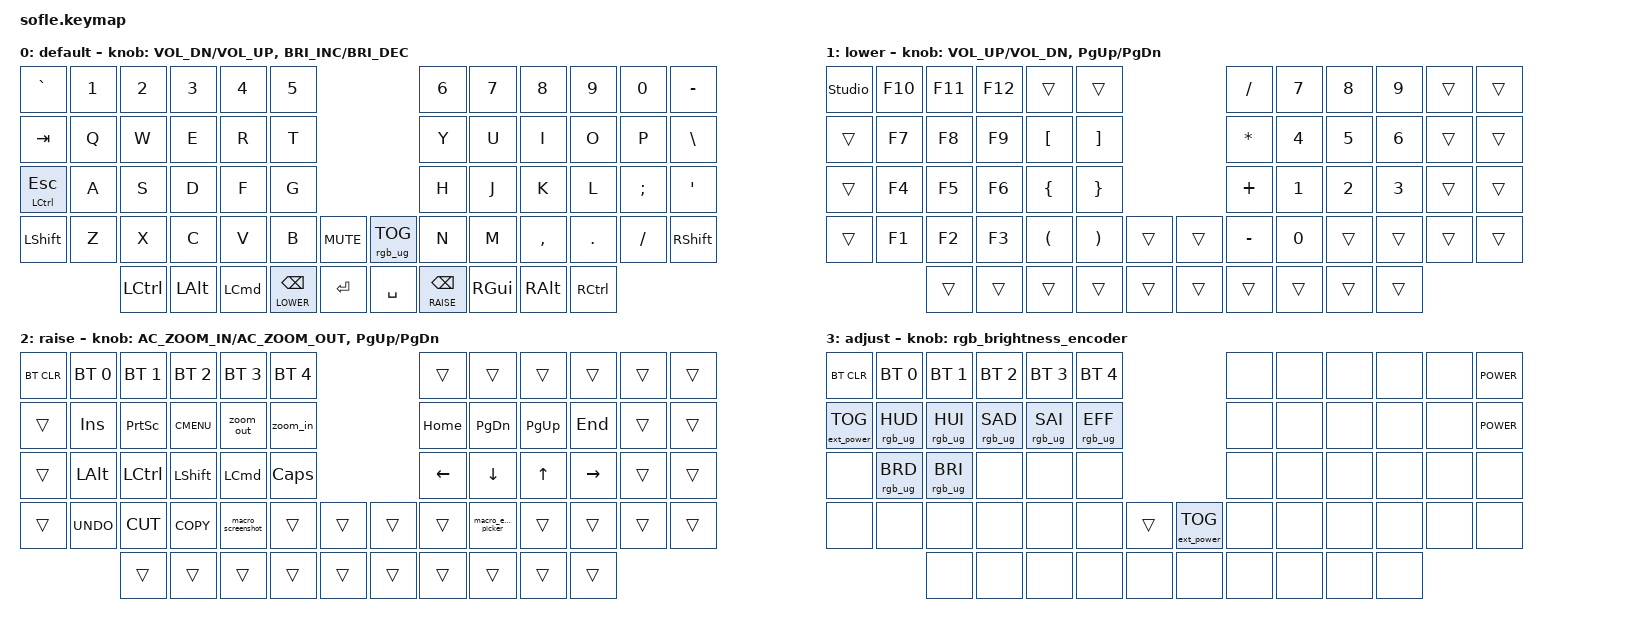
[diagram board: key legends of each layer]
/*
 * Copyright (c) 2020 The ZMK Contributors
 *
 * SPDX-License-Identifier: MIT
 */

#include <behaviors.dtsi>
#include <dt-bindings/zmk/bt.h>
#include <dt-bindings/zmk/ext_power.h>
#include <dt-bindings/zmk/keys.h>
#include <dt-bindings/zmk/rgb.h>

#define BASE 0
#define LOWER 1
#define RAISE 2
#define ADJUST 3

/ {
    // Activate ADJUST layer by pressing raise and lower

    conditional_layers {
        compatible = "zmk,conditional-layers";

        adjust_layer {
            if-layers = <LOWER RAISE>;
            then-layer = <ADJUST>;
        };
    };

    behaviors {
        macro_emoji_picker: macro_emoji_picker {
            compatible = "zmk,behavior-macro";
            label = "macro_emoji_picker";
            #binding-cells = <0>;
            bindings = <&kp LC(LG(SPACE))>;
        };

        macro_screenshot: macro_screenshot {
            compatible = "zmk,behavior-macro";
            #binding-cells = <0>;
            bindings = <&kp LG(LC(LS(NUMBER_4)))>;
            label = "MACRO_SCREENSHOT";
        };

        zoom_in: zoom_in {
            compatible = "zmk,behavior-macro";
            #binding-cells = <0>;
            bindings = <&kp LG(PLUS)>;
            label = "ZOOM_IN";
        };

        zoom_out: zoom_out {
            compatible = "zmk,behavior-macro";
            #binding-cells = <0>;
            bindings = <&kp LG(MINUS)>;
            label = "ZOOM_OUT";
        };

        rgb_brightness_encoder: rgb_brightness_encoder {
            compatible = "zmk,behavior-sensor-rotate";
            label = "RGB_BRIGHTNESS_ENCODER";
            #sensor-binding-cells = <0>;
            bindings = <&rgb_ug RGB_BRI>, <&rgb_ug RGB_BRD>;
        };

        lth: layer_tap {
            compatible = "zmk,behavior-hold-tap";
            #binding-cells = <2>;
            flavor = "tap-preferred";
            tapping-term-ms = <140>;
            bindings = <&mo>, <&kp>;

            display-name = "Layer-Tap-Hold";
            quick-tap-ms = <150>;
        };
    };

    combos {
        compatible = "zmk,combos";

        vim_escape {
            bindings = <&kp ESCAPE>;
            key-positions = <31 32>;
            timeout-ms = <50>;
        };

        combo_caps_lock {
            bindings = <&kp CAPS>;
            key-positions = <36 49>;
        };

        equal {
            bindings = <&kp EQUAL>;
            key-positions = <19 20>;
            timeout-ms = <50>;
        };

        left-bracket {
            bindings = <&kp LEFT_BRACKET>;
            key-positions = <16 17>;
        };

        right-bracket {
            bindings = <&kp RIGHT_BRACKET>;
            key-positions = <18 19>;
        };

        left-brace {
            bindings = <&kp LEFT_BRACE>;
            key-positions = <28 29>;
        };

        right-brace {
            bindings = <&kp RIGHT_BRACE>;
            key-positions = <30 31>;
        };

        left-parenthesis {
            bindings = <&kp LEFT_PARENTHESIS>;
            key-positions = <40 41>;
        };

        right-parenthesis {
            bindings = <&kp RIGHT_PARENTHESIS>;
            key-positions = <44 45>;
        };
    };

    macros {
    };

    keymap {
        compatible = "zmk,keymap";

        default_layer {
            display-name = "default";

            // ------------------------------------------------------------------------------------------------------------
            // |   `   |  1  |  2  |  3   |  4   |  5   |                   |  6   |  7    |  8    |  9   |   0   |       |
            // |  ESC  |  Q  |  W  |  E   |  R   |  T   |                   |  Y   |  U    |  I    |  O   |   P   | BKSPC |
            // |  TAB  |  A  |  S  |  D   |  F   |  G   |                   |  H   |  J    |  K    |  L   |   ;   |   '   |
            // | SHIFT |  Z  |  X  |  C   |  V   |  B   |  MUTE  |  |       |  N   |  M    |  ,    |  .   |   /   | SHIFT |
            //               | GUI | ALT  | CTRL | LOWER|  ENTER |  | SPACE | RAISE| CTRL  | ALT   | GUI  |

            bindings = <
&kp GRAVE         &kp N1  &kp N2     &kp N3    &kp N4    &kp N5                                               &kp N6                &kp N7    &kp N8         &kp N9     &kp N0    &kp MINUS
&kp TAB           &kp Q   &kp W      &kp E     &kp R     &kp T                                                &kp Y                 &kp U     &kp I          &kp O      &kp P     &kp BACKSLASH
&mt LCTRL ESCAPE  &kp A   &kp S      &kp D     &kp F     &kp G                                                &kp H                 &kp J     &kp K          &kp L      &kp SEMI  &kp SQT
&kp LSHFT         &kp Z   &kp X      &kp C     &kp V     &kp B                 &kp C_MUTE    &rgb_ug RGB_TOG  &kp N                 &kp M     &kp COMMA      &kp DOT    &kp FSLH  &kp RIGHT_SHIFT
                          &kp LCTRL  &kp LALT  &kp LCMD  &lth LOWER BACKSPACE  &kp RET       &kp SPACE        &lth RAISE BACKSPACE  &kp RGUI  &kp RIGHT_ALT  &kp RCTRL
            >;

            sensor-bindings =
                <&inc_dec_kp C_VOL_DN C_VOL_UP>,
                <&inc_dec_kp C_BRIGHTNESS_INC C_BRIGHTNESS_DEC>;
        };

        lower_layer {
            display-name = "lower";

            // TODO: Some binds are waiting for shifted keycode support.
            // ------------------------------------------------------------------------------------------------------------
            // |       |  F1 |  F2 |  F3  |  F4  |  F5  |                   |  F6  |  F7   |  F8   |  F9  |  F10  |  F11  |
            // |   `   |  1  |  2  |  3   |  4   |  5   |                   |  6   |  7    |  8    |  9   |   0   |  F12  |
            // |       |  !  |  @  |  #   |  $   |  %   |                   |  ^   |  &    |  *    |  (   |   )   |   |   |
            // |       |  =  |  -  |  +   |  {   |  }   |        |  |       |  [   |  ]    |  ;    |  :   |   \   |       |
            //               |     |      |      |      |        |  |       |      |       |       |      |

            bindings = <
&studio_unlock  &kp F10  &kp F11  &kp F12  &trans                &trans                                   &kp SLASH     &kp N7        &kp N8        &kp N9        &trans  &trans
&trans          &kp F7   &kp F8   &kp F9   &kp LEFT_BRACKET      &kp RIGHT_BRACKET                        &kp ASTERISK  &kp NUMBER_4  &kp N5        &kp NUMBER_6  &trans  &trans
&trans          &kp F4   &kp F5   &kp F6   &kp LEFT_BRACE        &kp RIGHT_BRACE                          &kp PLUS      &kp NUMBER_1  &kp NUMBER_2  &kp NUMBER_3  &trans  &trans
&trans          &kp F1   &kp F2   &kp F3   &kp LEFT_PARENTHESIS  &kp RIGHT_PARENTHESIS  &trans    &trans  &kp MINUS     &kp N0        &trans        &trans        &trans  &trans
                         &trans   &trans   &trans                &trans                 &trans    &trans  &trans        &trans        &trans        &trans
            >;

            sensor-bindings = <&inc_dec_kp C_VOL_UP C_VOL_DN &inc_dec_kp PG_UP PG_DN>;
        };

        raise_layer {
            display-name = "raise";

            // ------------------------------------------------------------------------------------------------------------
            // | BTCLR | BT1  | BT2  |  BT3  |  BT4  |  BT5 |                |      |      |       |      |       |       |
            // |       | INS  | PSCR | GUI   |       |      |                | PGUP |      |       |      |       |       |
            // |       | ALT  | CTRL | SHIFT |       | CAPS |                | <-   |   v  |   ^   |  ->  |  DEL  | BKSPC |
            // |       | UNDO | CUT  | COPY  | PASTE |      |      |  |      |      |      |       |      |       |       |
            //                |      |       |       |      |      |  |      |      |      |       |      |

            bindings = <
&bt BT_CLR  &bt BT_SEL 0  &bt BT_SEL 1  &bt BT_SEL 2  &bt BT_SEL 3       &bt BT_SEL 4                    &trans    &trans               &trans        &trans     &trans  &trans
&trans      &kp INS       &kp PSCRN     &kp K_CMENU   &zoom_out          &zoom_in                        &kp HOME  &kp PG_DN            &kp PG_UP     &kp END    &trans  &trans
&trans      &kp LALT      &kp LCTRL     &kp LSHFT     &kp LCMD           &kp CLCK                        &kp LEFT  &kp DOWN             &kp UP_ARROW  &kp RIGHT  &trans  &trans
&trans      &kp K_UNDO    &kp K_CUT     &kp K_COPY    &macro_screenshot  &trans        &trans    &trans  &trans    &macro_emoji_picker  &trans        &trans     &trans  &trans
                          &trans        &trans        &trans             &trans        &trans    &trans  &trans    &trans               &trans        &trans
            >;

            sensor-bindings =
                <&inc_dec_kp C_AC_ZOOM_IN C_AC_ZOOM_OUT>,
                <&inc_dec_kp PG_UP PG_DN>;
        };

        adjust_layer {
            // ----------------------------------------------------------------------------------------------------------------------------
            // | BTCLR  |  BT1    |  BT2    |   BT3   |   BT4   |   BT5   |                  |      |      |       |      |       |       |
            // | EXTPWR | RGB_HUD | RGB_HUI | RGB_SAD | RGB_SAI | RGB_EFF |                  |      |      |       |      |       |       |
            // |        | RGB_BRD | RGB_BRI |         |         |         |                  |      |      |       |      |       |       |
            // |        |         |         |         |         |         | RGB_TOG | |      |      |      |       |      |       |       |
            //                    |         |         |         |         |         | |      |      |      |       |      |

            display-name = "adjust";
            bindings = <
&bt BT_CLR         &bt BT_SEL 0     &bt BT_SEL 1     &bt BT_SEL 2     &bt BT_SEL 3     &bt BT_SEL 4                                  &none  &none  &none  &none  &none  &kp K_POWER
&ext_power EP_TOG  &rgb_ug RGB_HUD  &rgb_ug RGB_HUI  &rgb_ug RGB_SAD  &rgb_ug RGB_SAI  &rgb_ug RGB_EFF                               &none  &none  &none  &none  &none  &kp C_POWER
&none              &rgb_ug RGB_BRD  &rgb_ug RGB_BRI  &none            &none            &none                                         &none  &none  &none  &none  &none  &none
&none              &none            &none            &none            &none            &none            &trans    &ext_power EP_TOG  &none  &none  &none  &none  &none  &none
                                    &none            &none            &none            &none            &none     &none              &none  &none  &none  &none
            >;

            sensor-bindings = <&rgb_brightness_encoder>;
        };
    };
};
